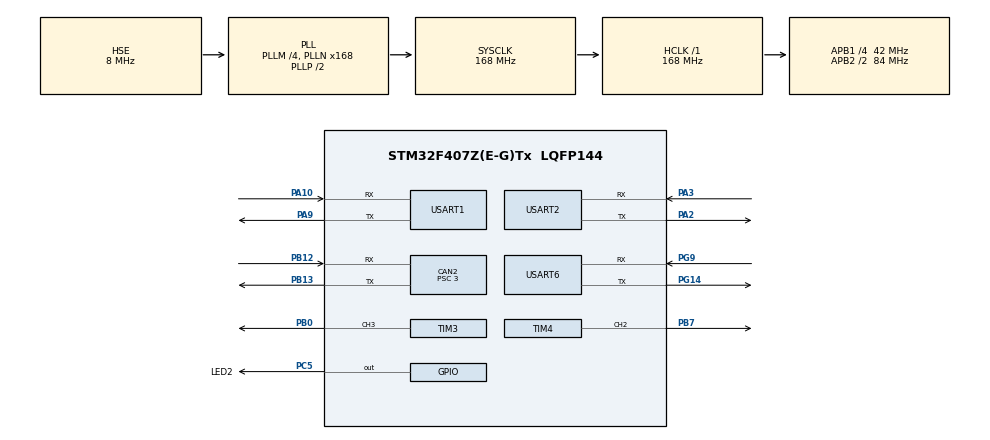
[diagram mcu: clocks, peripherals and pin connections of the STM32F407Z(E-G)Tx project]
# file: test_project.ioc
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CAN2.ABOM=ENABLE
CAN2.BS1=CAN_BS1_9TQ
CAN2.BS2=CAN_BS2_4TQ
CAN2.CalculateBaudRate=1000000
CAN2.CalculateTimeBit=1000
CAN2.CalculateTimeQuantum=71.42857142857143
CAN2.Prescaler=3
Mcu.Family=STM32F4
Mcu.Name=STM32F407Z(E-G)Tx
Mcu.Package=LQFP144
NVIC.CAN2_RX0_IRQn=true\:0\:0\:false\:false\:true\:true\:true\:true
NVIC.CAN2_RX1_IRQn=true\:0\:0\:false\:false\:true\:true\:true\:true
NVIC.CAN2_TX_IRQn=true\:0\:0\:false\:false\:true\:true\:true\:true
NVIC.PriorityGroup=NVIC_PRIORITYGROUP_4
PA10.Mode=Asynchronous
PA10.Signal=USART1_RX
PA13.Mode=Serial_Wire
PA13.Signal=SYS_JTMS-SWDIO
PA14.Mode=Serial_Wire
PA14.Signal=SYS_JTCK-SWCLK
PA2.Mode=Asynchronous
PA2.Signal=USART2_TX
PA3.Mode=Asynchronous
PA3.Signal=USART2_RX
PA9.Mode=Asynchronous
PA9.Signal=USART1_TX
PB0.Signal=S_TIM3_CH3
PB12.Mode=CAN_Activate
PB12.Signal=CAN2_RX
PB13.Mode=CAN_Activate
PB13.Signal=CAN2_TX
PB7.Signal=S_TIM4_CH2
PC5.GPIO_Label=LED2
PC5.Signal=GPIO_Output
PG14.Mode=Asynchronous
PG14.Signal=USART6_TX
PG9.Mode=Asynchronous
PG9.Signal=USART6_RX
PH0-OSC_IN.Mode=HSE-External-Oscillator
PH0-OSC_IN.Signal=RCC_OSC_IN
PH1-OSC_OUT.Mode=HSE-External-Oscillator
PH1-OSC_OUT.Signal=RCC_OSC_OUT
ProjectManager.HeapSize=0x200
ProjectManager.StackSize=0x400
ProjectManager.TargetToolchain=STM32CubeIDE
RCC.48MHZClocksFreq_Value=84000000
RCC.AHBFreq_Value=168000000
RCC.APB1CLKDivider=RCC_HCLK_DIV4
RCC.APB1Freq_Value=42000000
RCC.APB1TimFreq_Value=84000000
RCC.APB2CLKDivider=RCC_HCLK_DIV2
RCC.APB2Freq_Value=84000000
RCC.APB2TimFreq_Value=168000000
RCC.CortexFreq_Value=168000000
RCC.HCLKFreq_Value=168000000
RCC.HSE_VALUE=8000000
RCC.HSI_VALUE=16000000
RCC.LSE_VALUE=32768
RCC.PLLM=4
RCC.PLLN=168
RCC.PLLSourceVirtual=RCC_PLLSOURCE_HSE
RCC.SYSCLKFreq_VALUE=168000000
RCC.SYSCLKSource=RCC_SYSCLKSOURCE_PLLCLK
RCC.VCOOutputFreq_Value=336000000
SH.S_TIM3_CH3.0=TIM3_CH3,PWM Generation3 CH3
SH.S_TIM4_CH2.0=TIM4_CH2,PWM Generation2 CH2
TIM3.AutoReloadPreload=TIM_AUTORELOAD_PRELOAD_ENABLE
TIM3.Channel-PWM\ Generation3\ CH3=TIM_CHANNEL_3
TIM3.OCPolarity_3=TIM_OCPOLARITY_LOW
TIM3.Period=99
TIM3.Prescaler=41999
TIM4.AutoReloadPreload=TIM_AUTORELOAD_PRELOAD_ENABLE
TIM4.Channel-PWM\ Generation2\ CH2=TIM_CHANNEL_2
TIM4.OCPolarity_2=TIM_OCPOLARITY_HIGH
TIM4.Period=99
TIM4.Prescaler=16799
USART1.VirtualMode=VM_ASYNC
USART2.VirtualMode=VM_ASYNC
USART6.VirtualMode=VM_ASYNC
VP_TIM3_VS_ClockSourceINT.Mode=Internal
board=custom

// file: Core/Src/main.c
/* USER CODE BEGIN Header */
/**
  ******************************************************************************
  * @file           : main.c
  * @brief          : Main program body
  ******************************************************************************
  * @attention
  *
  * Copyright (c) 2024 STMicroelectronics.
  * All rights reserved.
  *
  * This software is licensed under terms that can be found in the LICENSE file
  * in the root directory of this software component.
  * If no LICENSE file comes with this software, it is provided AS-IS.
  *
  ******************************************************************************
  */
/* USER CODE END Header */
#include "main.h"
#include "can.h"
#include "tim.h"
#include "usart.h"
#include "gpio.h"

void SystemClock_Config(void);

int main(void)
{

  /* MCU Configuration--------------------------------------------------------*/

  /* Reset of all peripherals, Initializes the Flash interface and the Systick. */
  HAL_Init();

  /* Configure the system clock */
  SystemClock_Config();

  /* Initialize all configured peripherals */
  MX_GPIO_Init();
  MX_USART6_UART_Init();
  MX_USART1_UART_Init();
  MX_USART2_UART_Init();
  MX_TIM4_Init();
  MX_TIM3_Init();
  MX_CAN2_Init();
  /* USER CODE BEGIN 2 */
  static unsigned char instruction_packet[10] = {0};
  instruction_packet[0] = 0xFF;//header
  instruction_packet[1] = 0xFF;
  instruction_packet[2] = 0xFD;
  instruction_packet[3] = 0x00;//reserved
  instruction_packet[4] = 0x16;//id
  instruction_packet[5] = 0x03;//length low
  instruction_packet[6] = 0x00;//length high
  instruction_packet[7] = 0x05;//inst:weite
  instruction_packet[8] = 0x07;//place
  instruction_packet[9] = 0x62;
  // instruction_packet[10] = 0xA5;//parameters
  // instruction_packet[11] = 0x05;
  // instruction_packet[12] = 0x00;
  // instruction_packet[13] = 0x00;
  // instruction_packet[14] = 0x7E;//CRC calualate
  // instruction_packet[15] = 0xAD;
  HAL_TIM_PWM_Start(&htim4,TIM_CHANNEL_2);
  HAL_CAN_Start(&hcan2);
  CAN_Filter_Init(&hcan2);

  // HAL_TIM_PWM_Start(&htim3,TIM_CHANNEL_3);
  int duty = 7;
  /* USER CODE END 2 */

  /* Infinite loop */
  /* USER CODE BEGIN WHILE */
  while (1)
  {
    Set_moto_current(&hcan2,2000,1000,5000,5000);
    HAL_Delay(200);
    Set_moto_current(&hcan2,2000,2000,5000,5000);
    HAL_Delay(200);

    /* USER CODE END WHILE */

  }
}
void SystemClock_Config(void)
{
  RCC_OscInitTypeDef RCC_OscInitStruct = {0};
  RCC_ClkInitTypeDef RCC_ClkInitStruct = {0};

  /** Configure the main internal regulator output voltage
  */
  __HAL_RCC_PWR_CLK_ENABLE();
  __HAL_PWR_VOLTAGESCALING_CONFIG(PWR_REGULATOR_VOLTAGE_SCALE1);

  /** Initializes the RCC Oscillators according to the specified parameters
  * in the RCC_OscInitTypeDef structure.
  */
  RCC_OscInitStruct.OscillatorType = RCC_OSCILLATORTYPE_HSE;
  RCC_OscInitStruct.HSEState = RCC_HSE_ON;
  RCC_OscInitStruct.PLL.PLLState = RCC_PLL_ON;
  RCC_OscInitStruct.PLL.PLLSource = RCC_PLLSOURCE_HSE;
  RCC_OscInitStruct.PLL.PLLM = 4;
  RCC_OscInitStruct.PLL.PLLN = 168;
  RCC_OscInitStruct.PLL.PLLP = RCC_PLLP_DIV2;
  RCC_OscInitStruct.PLL.PLLQ = 4;
  if (HAL_RCC_OscConfig(&RCC_OscInitStruct) != HAL_OK)
  {
    Error_Handler();
  }

  /** Initializes the CPU, AHB and APB buses clocks
  */
  RCC_ClkInitStruct.ClockType = RCC_CLOCKTYPE_HCLK|RCC_CLOCKTYPE_SYSCLK
                              |RCC_CLOCKTYPE_PCLK1|RCC_CLOCKTYPE_PCLK2;
  RCC_ClkInitStruct.SYSCLKSource = RCC_SYSCLKSOURCE_PLLCLK;
  RCC_ClkInitStruct.AHBCLKDivider = RCC_SYSCLK_DIV1;
  RCC_ClkInitStruct.APB1CLKDivider = RCC_HCLK_DIV4;
  RCC_ClkInitStruct.APB2CLKDivider = RCC_HCLK_DIV2;

  if (HAL_RCC_ClockConfig(&RCC_ClkInitStruct, FLASH_LATENCY_5) != HAL_OK)
  {
    Error_Handler();
  }
}

void Error_Handler(void)
{
  __disable_irq();
  while (1)
  {
  }
}
